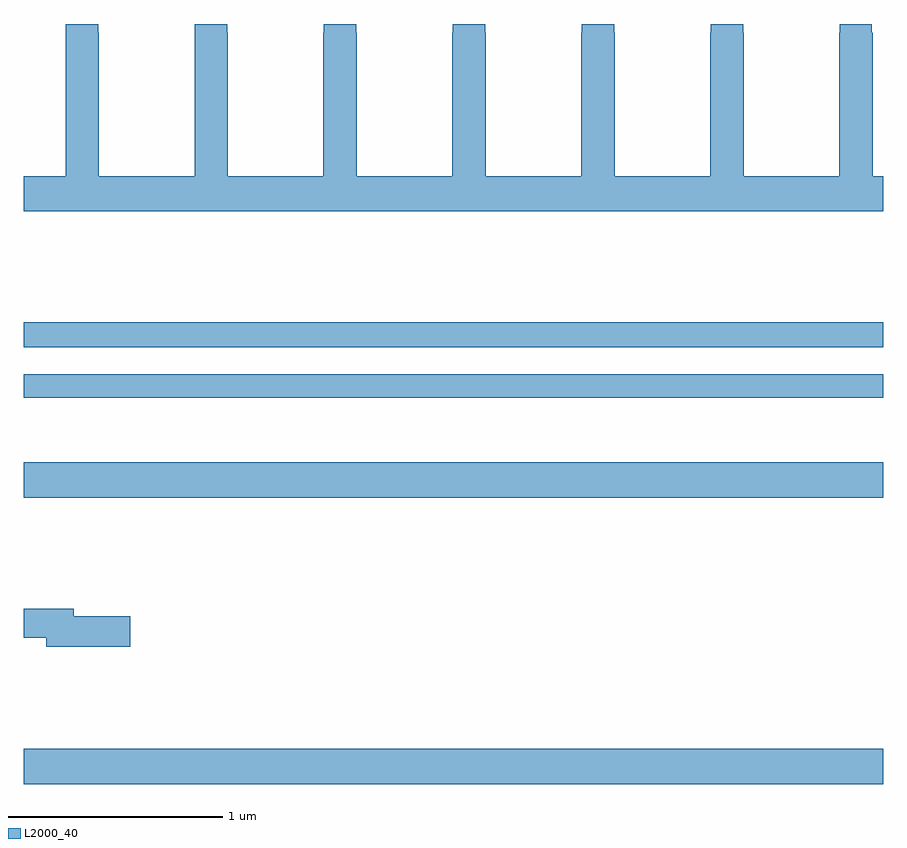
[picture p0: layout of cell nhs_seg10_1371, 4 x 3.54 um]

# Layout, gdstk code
import gdstk
lib = gdstk.Library(unit=1e-6, precision=1e-09)
def R(c, l, rs):  # rectangles x0, y0, x1, y1
    for r in rs: c.add(gdstk.rectangle(r[:2], r[2:], *l))
def P(c, l, *ps):  # polygons
    for p in ps: c.add(gdstk.Polygon(p, *l))
L2000_40 = (2000, 40)

nhs_seg10_1371 = lib.new_cell('nhs_seg10_1371')
R(nhs_seg10_1371, L2000_40, [(181,1318.964,185,1319.128), (181,1320.296,185,1320.46), (181,1320.762,185,1320.87), (181,1320.996,185,1321.112)])
P(nhs_seg10_1371, L2000_40, [(185,1321.792),(184.95,1321.792),(184.95,1322.459),(184.947,1322.459),(184.947,1322.5),(184.797,1322.5),(184.797,1322.459),(184.795,1322.459),(184.795,1321.792),(184.35,1321.792),(184.35,1322.459),(184.347,1322.459),(184.347,1322.5),(184.197,1322.5),(184.197,1322.459),(184.195,1322.459),(184.195,1321.792),(183.75,1321.792),(183.75,1322.459),(183.747,1322.459),(183.747,1322.5),(183.597,1322.5),(183.597,1322.459),(183.595,1322.459),(183.595,1321.792),(183.15,1321.792),(183.15,1322.459),(183.147,1322.459),(183.147,1322.5),(182.997,1322.5),(182.997,1322.459),(182.995,1322.459),(182.995,1321.792),(182.55,1321.792),(182.55,1322.459),(182.547,1322.459),(182.547,1322.5),(182.397,1322.5),(182.397,1322.459),(182.395,1322.459),(182.395,1321.792),(181.95,1321.792),(181.95,1322.459),(181.947,1322.459),(181.947,1322.5),(181.797,1322.5),(181.797,1322.459),(181.795,1322.459),(181.795,1321.792),(181.35,1321.792),(181.35,1322.459),(181.347,1322.459),(181.347,1322.5),(181.197,1322.5),(181.197,1322.459),(181.195,1322.459),(181.195,1321.792),(181,1321.792),(181,1321.628),(185,1321.628)],
  [(181.495,1319.744),(181.234,1319.744),(181.234,1319.78),(181,1319.78),(181,1319.644),(181.106,1319.644),(181.106,1319.602),(181.495,1319.602)])

lib.write_gds('nhs_seg10_1371.gds')
